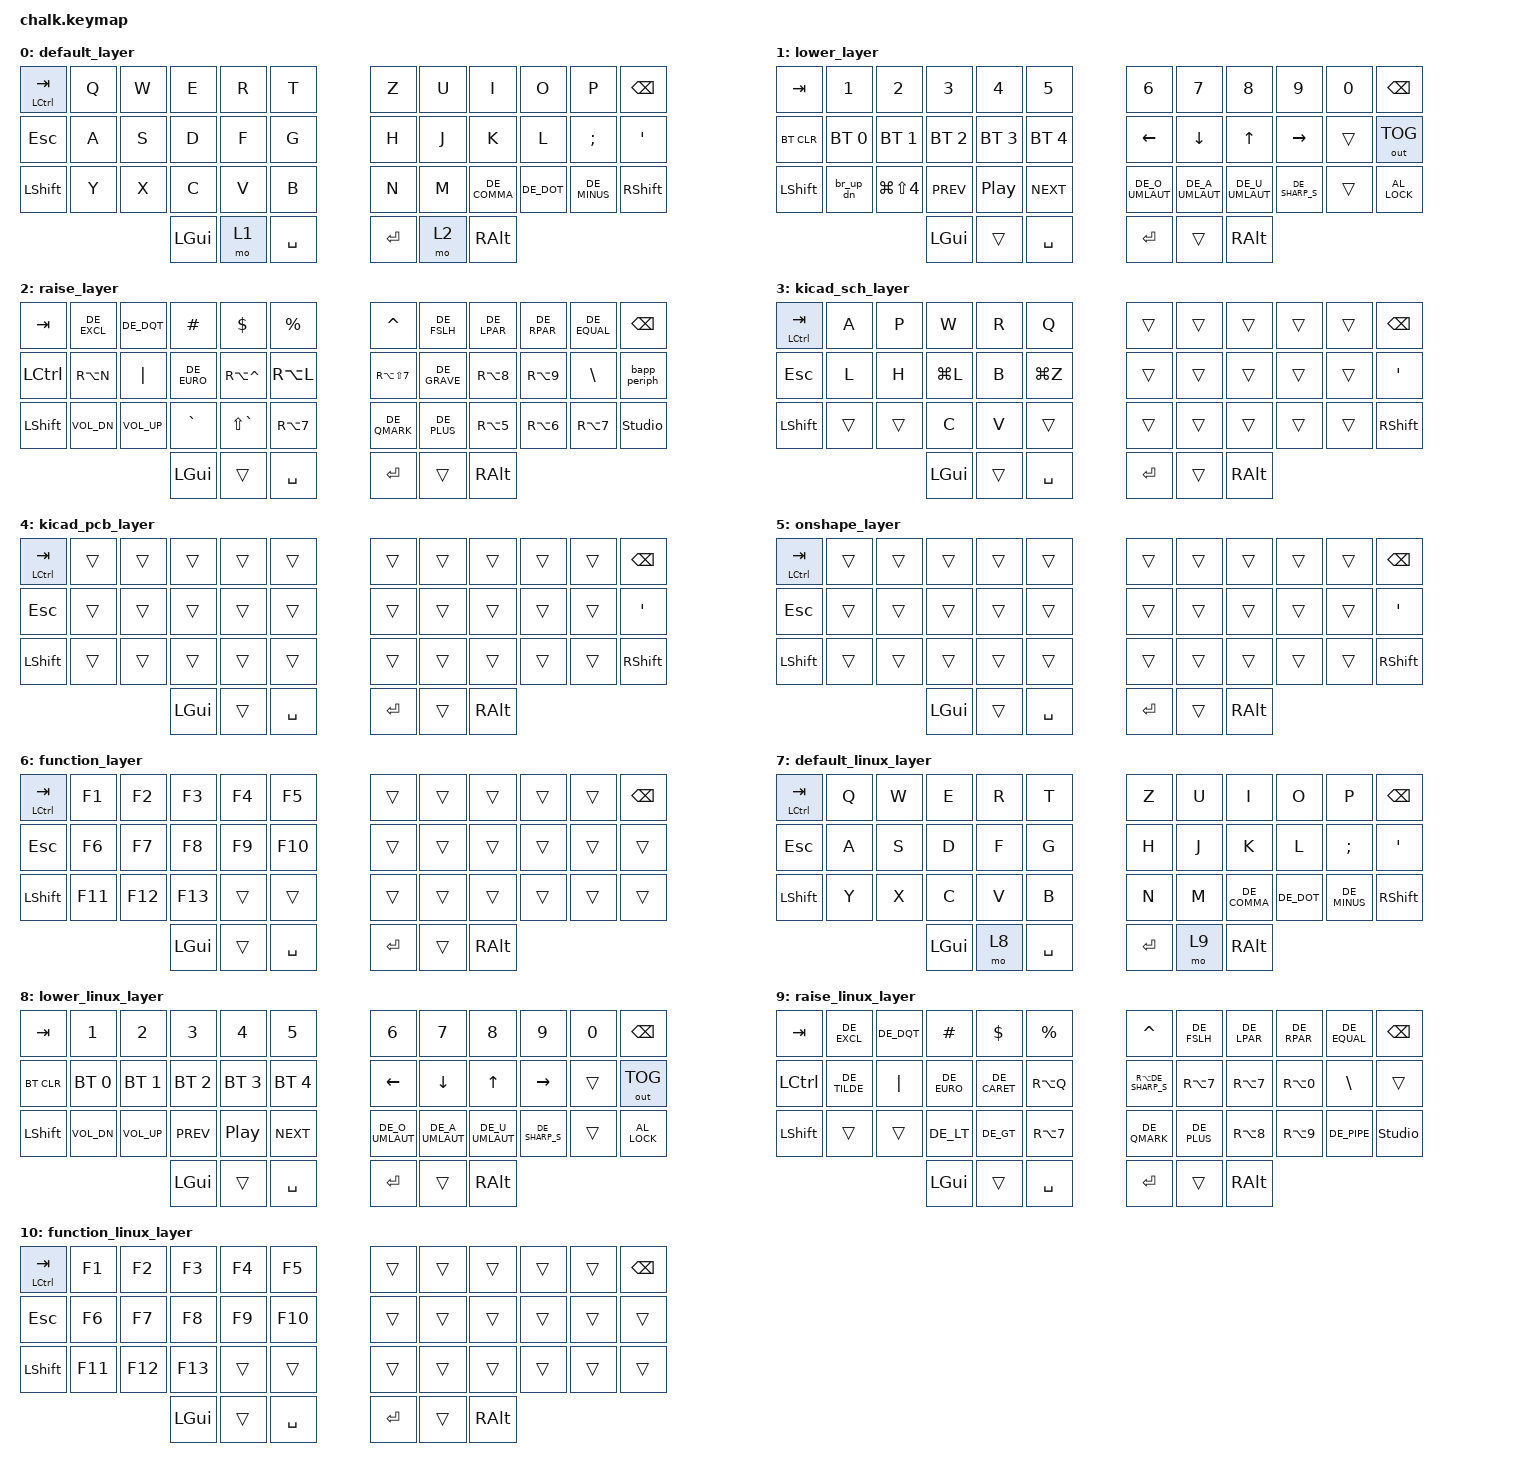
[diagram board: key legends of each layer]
/*
 * Copyright (c) 2020 The ZMK Contributors
 *
 * SPDX-License-Identifier: MIT
 */

#include <behaviors.dtsi>
#include <dt-bindings/zmk/keys.h>
#include <dt-bindings/zmk/bt.h>
#include "keys_de.h"	
#include <dt-bindings/zmk/outputs.h>
#include <behaviors/battery_percentage_printer.dtsi>



/ {
        behaviors {
            esc_ctrl: esc_ctrl {
                compatible = "zmk,behavior-hold-tap";
                label = "ESC_CTRL";
                #binding-cells = <2>;
                tapping-term-ms = <300>;  
                quick-tap-ms = <120>;      
                flavor = "tap-preferred";   
                global-quick-tap;
                bindings = <&kp>, <&kp>;  
            };
            ht_timeless: ht_timeless {
                compatible = "zmk,behavior-hold-tap";
                flavor = "hold-preferred";
                tapping-term-ms = <280>;
                #binding-cells = <2>;
                quick-tap-ms = <175>;
                require-prior-idle-ms = <150>;
                bindings = <&kp>, <&mo>;
                hold-trigger-on-release;
            };
            br_up_dn: brightness_up_down {
                compatible = "zmk,behavior-mod-morph";
                #binding-cells = <0>;
                bindings = <&kp C_BRI_UP>, <&kp C_BRI_DN>;
                mods = <MOD_LSFT>;
            };
        };
        combos {
            compatible = "zmk,combos";
    
            fourth_layer_combo {
                key-positions = <37 40>;  
                timeout-ms = <100>;         
                layers = <0>;               
                bindings = <&mo 3>;         
            };
            linux_function_layer{
                key-positions = <37 40>;  
                timeout-ms = <100>;         
                layers = <7>;               
                bindings = <&mo 10>;         
            };
            linux_layers{
                key-positions = <23 37>;  
                timeout-ms = <100>;         
                layers = <0 7>;               
                bindings = <&tog 7>;         
            };
            // this should allow for entering bootloader mode on the dongle with a key combo, otherwise one would have to press the very tiny reset button on the dongle
            reset{
                key-positions = <36 41>;
                timeout-ms = <20>;
                layers = <0 1 2 3 4 5 6 7 8 9 10>;
                bindings = <&bootloader>;

            };

        };  


        keymap {
                compatible = "zmk,keymap";
	
                default_layer {
                        // -----------------------------------------------------------------------------------------
                        // |  TAB |  Q  |  W  |  E  |  R  |  T  |   |  Y  |  U   |  I  |  O  |  P  | BKSP |
                        // | CTRL |  A  |  S  |  D  |  F  |  G  |   |  H  |  J   |  K  |  L  |  ;  |  '   |
                        // | SHFT |  Z  |  X  |  C  |  V  |  B  |   |  N  |  M   |  ,  |  .  |  /  | ESC  |
                        //                    | GUI | LWR | SPC |   | ENT | RSE  | ALT |
                        bindings = <
                            &esc_ctrl LCTRL TAB   &kp Q &kp W &kp E &kp R &kp T   &kp Z &kp U  &kp I     &kp O   &kp P    &kp BSPC
                            &kp ESC  &kp A &kp S &kp D &kp F &kp G   &kp H &kp J  &kp K     &kp L   &kp SEMI &kp SQT
                            &kp LSHFT &kp Y &kp X &kp C &kp V &kp B   &kp N &kp M  &kp DE_COMMA &kp DE_DOT &kp DE_MINUS &kp RSHFT
                            &kp LGUI &mo 1 &kp SPACE   &kp RET &mo 2 &kp RALT
                        >;
                };
                lower_layer {
                        // -----------------------------------------------------------------------------------------
                        // |  TAB |  1  |  2  |  3  |  4  |  5  |   |  6  |  7  |  8  |  9  |  0  | BKSP |
                        // | BTCLR| BT1 | BT2 | BT3 | BT4 | BT5 |   | LFT | DWN |  UP | RGT |     |      |
                        // | SHFT | Bri |     | Prev| Pau | Next|   |  ö  |  ä   |  ü  |  ß  |     |      |
                        //                    | GUI |     | SPC |   | ENT |     | ALT |
                        bindings = <
                            &kp TAB    &kp N1       &kp N2       &kp N3       &kp N4       &kp N5         &kp N6   &kp N7   &kp N8 &kp N9    &kp N0 &kp BSPC
                            &bt BT_CLR &bt BT_SEL 0 &bt BT_SEL 1 &bt BT_SEL 2 &bt BT_SEL 3 &bt BT_SEL 4   &kp LEFT &kp DOWN &kp UP &kp RIGHT &trans &out OUT_TOG
                            &kp LSHFT  &br_up_dn  &kp LG(LS(N4)) &kp C_PREV       &kp C_PP       &kp C_NEXT         &kp DE_O_UMLAUT   &kp DE_A_UMLAUT   &kp DE_U_UMLAUT &kp DE_SHARP_S    &trans &kp C_AL_LOCK
                                                            &kp LGUI     &trans       &kp SPACE      &kp RET  &trans   &kp RALT
                        >;
                };

                raise_layer {
                        // -----------------------------------------------------------------------------------------
                        // |  TAB |  !  |  "  |  §  |  $  |  %  |   |  &  |  /  |  (  |  )  |  =  | BKSP |
                        // | CTRL |     |  '  |  €  |  ^  |  @  |   |  \  |  ` |  {  |  }  |  #  |  <   |
                        // | SHFT |     |     |     |  <  |  >  |   |  ?  |  +  |  [  |  ]  | "|" |  >   |
                        //                    | GUI |     | SPC |   | ENT |     | ALT |
                        bindings = <
                            &kp  TAB  &kp DE_EXCL &kp DE_DQT &kp HASH &kp DLLR &kp PRCNT   &kp CARET &kp DE_FSLH  &kp DE_LPAR &kp DE_RPAR &kp DE_EQUAL &kp BSPC
                            &kp LCTRL &kp RA(N)  &kp PIPE &kp DE_EURO   &kp RA(CARET)   &kp RA(L) &kp RA(LS(N7)) &kp DE_GRAVE &kp RA(N8)  &kp RA(N9)  &kp BSLH &bapp_periph
                            &kp LSHFT &kp C_VOL_DN &kp C_VOL_UP &kp GRAVE &kp LS(GRAVE)  &kp RA(N7) &kp DE_QMARK &kp DE_PLUS  &kp RA(N5)  &kp RA(N6) &kp RA(N7) &studio_unlock
                                                        &kp LGUI &trans   &kp SPACE   &kp RET   &trans    &kp RALT
                        >;
                };
                kicad_sch_layer{
                        bindings = <
                            &esc_ctrl LCTRL TAB &kp A &kp P &kp W  &kp R &kp Q &trans &trans &trans &trans &trans &kp BSPC
                            &kp ESC &kp L &kp H &kp LG(L) &kp B &kp LG(Z)   &trans &trans &trans &trans &trans &kp SQT
                            &kp LSHFT &trans &trans &kp C &kp V &trans   &trans &trans &trans &trans &trans &kp RSHFT
                                                &kp LGUI &trans &kp SPACE   &kp RET &trans &kp RALT
                        >;
                };

                kicad_pcb_layer{
                        bindings = <
                            &esc_ctrl LCTRL TAB &trans &trans &trans &trans &trans   &trans &trans &trans &trans &trans &kp BSPC
                            &kp ESC &trans &trans &trans &trans &trans   &trans &trans &trans &trans &trans &kp SQT
                            &kp LSHFT &trans &trans &trans &trans &trans   &trans &trans &trans &trans &trans &kp RSHFT
                                                &kp LGUI &trans &kp SPACE   &kp RET &trans &kp RALT
                        >;
                };

                onshape_layer{
                        bindings = <
                            &esc_ctrl LCTRL TAB &trans &trans &trans &trans &trans   &trans &trans &trans &trans &trans &kp BSPC
                            &kp ESC &trans &trans &trans &trans &trans   &trans &trans &trans &trans &trans &kp SQT
                            &kp LSHFT &trans &trans &trans &trans &trans   &trans &trans &trans &trans &trans &kp RSHFT
                                                &kp LGUI &trans &kp SPACE   &kp RET &trans &kp RALT
                        >;
                };


                function_layer{
                        // -----------------------------------------------------------------------------------------
                        // | TAB  |  F1   |  F2    |  F3   |   F4  | F5    |     |     |     |     |     |     | BKSP |
                        // | CTRL |  F6   |  F7    |  F8   |   F9  |  F10  |     |     |     |     |     |     |      |
                        // | SHFT |  F11  |  F12   |  F13  |       |       |     |     |     |     |     |     |      |
                        //                    | GUI |     | SPC |   | ENT |     | ALT |
                        bindings = <
                            &esc_ctrl LCTRL TAB &kp F1  &kp F2  &kp F3  &kp F4  &kp F5       &trans &trans &trans &trans &trans &kp BSPC
                            &kp ESC &kp F6  &kp F7  &kp F8  &kp F9  &kp F10      &trans &trans &trans &trans &trans &trans
                            &kp LSHFT &kp F11 &kp F12 &kp F13 &trans  &trans       &trans &trans &trans &trans &trans &trans
                                                      &kp LGUI &trans   &kp SPACE   &kp RET   &trans    &kp RALT
                        >;

                };

                default_linux_layer {
                        // -----------------------------------------------------------------------------------------
                        // |  TAB |  Q  |  W  |  E  |  R  |  T  |   |  Y  |  U   |  I  |  O  |  P  | BKSP |
                        // | CTRL |  A  |  S  |  D  |  F  |  G  |   |  H  |  J   |  K  |  L  |  ;  |  '   |
                        // | SHFT |  Z  |  X  |  C  |  V  |  B  |   |  N  |  M   |  ,  |  .  |  /  | ESC  |
                        //                    | GUI | LWR | SPC |   | ENT | RSE  | ALT |
                        bindings = <
                            &esc_ctrl LCTRL TAB   &kp Q &kp W &kp E &kp R &kp T   &kp Z &kp U  &kp I     &kp O   &kp P    &kp BSPC
                            &kp ESC  &kp A &kp S &kp D &kp F &kp G   &kp H &kp J  &kp K     &kp L   &kp SEMI &kp SQT
                            &kp LSHFT &kp Y &kp X &kp C &kp V &kp B   &kp N &kp M  &kp DE_COMMA &kp DE_DOT &kp DE_MINUS &kp RSHFT
                            &kp LGUI &mo 8 &kp SPACE   &kp RET &mo 9 &kp RALT
                        >;
                };
                lower_linux_layer {
                        // -----------------------------------------------------------------------------------------
                        // |  TAB |  1  |  2  |  3  |  4  |  5  |   |  6  |  7  |  8  |  9  |  0  | BKSP |
                        // | BTCLR| BT1 | BT2 | BT3 | BT4 | BT5 |   | LFT | DWN |  UP | RGT |     |      |
                        // | SHFT |     |     | Prev| Pau | Next|   |  ö  |  ä   |  ü  |  ß  |     |      |
                        //                    | GUI |     | SPC |   | ENT |     | ALT |
                        bindings = <
                            &kp TAB    &kp N1       &kp N2       &kp N3       &kp N4       &kp N5         &kp N6   &kp N7   &kp N8 &kp N9    &kp N0 &kp BSPC
                            &bt BT_CLR &bt BT_SEL 0 &bt BT_SEL 1 &bt BT_SEL 2 &bt BT_SEL 3 &bt BT_SEL 4   &kp LEFT &kp DOWN &kp UP &kp RIGHT &trans &out OUT_TOG
                            &kp LSHFT  &kp C_VOL_DN &kp C_VOL_UP &kp C_PREV       &kp C_PP       &kp C_NEXT         &kp DE_O_UMLAUT   &kp DE_A_UMLAUT   &kp DE_U_UMLAUT &kp DE_SHARP_S    &trans &kp C_AL_LOCK
                                                            &kp LGUI     &trans       &kp SPACE      &kp RET  &trans   &kp RALT
                        >;
                };

                raise_linux_layer {
                        // -----------------------------------------------------------------------------------------
                        // |  TAB |  !  |  "  |  §  |  $  |  %  |   |  &  |  /  |  (  |  )  |  =  | BKSP |
                        // | CTRL |     |  '  |  €  |  ^  |  @  |   |  \  |  ` |  {  |  }  |  #  |  <   |
                        // | SHFT |     |     |     |  <  |  >  |   |  ?  |  +  |  [  |  ]  | "|" |  >   |
                        //                    | GUI |     | SPC |   | ENT |     | ALT |
                        bindings = <
                             &kp  TAB  &kp DE_EXCL &kp DE_DQT &kp HASH &kp DLLR &kp PRCNT   &kp CARET &kp DE_FSLH  &kp DE_LPAR &kp DE_RPAR &kp DE_EQUAL &kp BSPC
                             &kp LCTRL &kp DE_TILDE   &kp PIPE &kp DE_EURO   &kp DE_CARET   &kp RA(Q) &kp RA(DE_SHARP_S) &kp RA(N7) &kp RA(N7)  &kp RA(N0)  &kp BSLH &trans
                             &kp LSHFT &trans   &trans &kp DE_LT &kp DE_GT  &kp RA(N7) &kp DE_QMARK &kp DE_PLUS  &kp RA(N8)  &kp RA(N9) &kp DE_PIPE &studio_unlock
                                                        &kp LGUI &trans   &kp SPACE   &kp RET   &trans    &kp RALT
                        >;
                };



                function_linux_layer{
                        // -----------------------------------------------------------------------------------------
                        // | TAB  |  F1   |  F2    |  F3   |   F4  | F5    |     |     |     |     |     |     | BKSP |
                        // | CTRL |  F6   |  F7    |  F8   |   F9  |  F10  |     |     |     |     |     |     |      |
                        // | SHFT |  F11  |  F12   |  F13  |       |       |     |     |     |     |     |     |      |
                        //                    | GUI |     | SPC |   | ENT |     | ALT |
                        bindings = <
                            &esc_ctrl LCTRL TAB &kp F1  &kp F2  &kp F3  &kp F4  &kp F5       &trans &trans &trans &trans &trans &kp BSPC
                            &kp ESC &kp F6  &kp F7  &kp F8  &kp F9  &kp F10      &trans &trans &trans &trans &trans &trans
                            &kp LSHFT &kp F11 &kp F12 &kp F13 &trans  &trans       &trans &trans &trans &trans &trans &trans
                                                      &kp LGUI &trans   &kp SPACE   &kp RET   &trans    &kp RALT
                        >;

                };
        };
};
